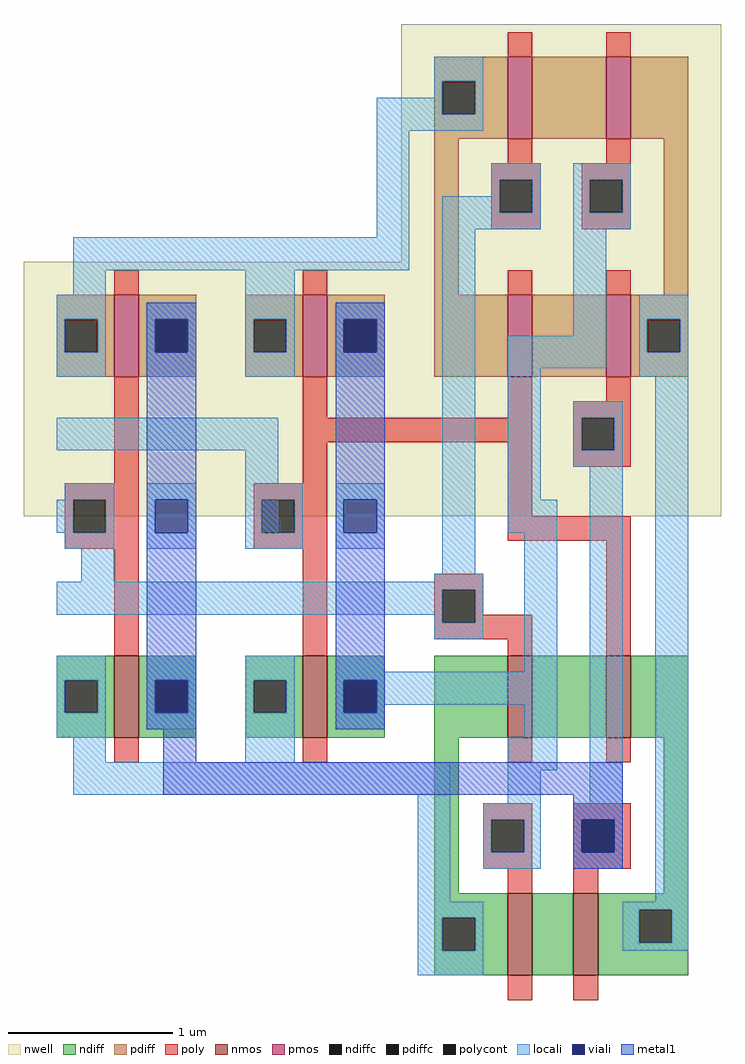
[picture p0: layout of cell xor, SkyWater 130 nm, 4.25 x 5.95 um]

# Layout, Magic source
magic
tech sky130A
<< nwell >>
rect -110 140 85 440
<< nmos >>
rect -45 5 -30 55
rect 15 5 30 55
rect -45 -140 -30 -90
rect -5 -140 10 -90
<< pmos >>
rect -45 370 -30 420
rect 15 370 30 420
rect -45 225 -30 275
rect 15 225 30 275
<< ndiff >>
rect -90 5 -45 55
rect -30 5 15 55
rect 30 5 65 55
rect -90 -90 -75 5
rect 50 -90 65 5
rect -90 -105 -45 -90
rect -90 -125 -85 -105
rect -65 -125 -45 -105
rect -90 -140 -45 -125
rect -30 -140 -5 -90
rect 10 -100 65 -90
rect 10 -120 35 -100
rect 55 -120 65 -100
rect 10 -140 65 -120
<< pdiff >>
rect -90 405 -45 420
rect -90 385 -85 405
rect -65 385 -45 405
rect -90 370 -45 385
rect -30 370 15 420
rect 30 370 65 420
rect -90 275 -75 370
rect 50 275 65 370
rect -90 225 -45 275
rect -30 225 15 275
rect 30 260 65 275
rect 30 240 40 260
rect 60 240 65 260
rect 30 225 65 240
<< ndiffc >>
rect -85 -125 -65 -105
rect 35 -120 55 -100
<< pdiffc >>
rect -85 385 -65 405
rect 40 240 60 260
<< poly >>
rect -45 420 -30 435
rect 15 420 30 435
rect -45 355 -30 370
rect 15 355 30 370
rect -55 345 -25 355
rect -55 325 -50 345
rect -30 325 -25 345
rect -55 315 -25 325
rect 0 345 30 355
rect 0 325 5 345
rect 25 325 30 345
rect 0 315 30 325
rect -45 275 -30 290
rect 15 275 30 290
rect -45 200 -30 225
rect 15 210 30 225
rect -170 185 -30 200
rect -45 140 -30 185
rect -5 200 30 210
rect -5 180 0 200
rect 20 180 30 200
rect -5 170 30 180
rect -45 125 30 140
rect -90 95 -60 105
rect -90 75 -85 95
rect -65 80 -60 95
rect -65 75 -30 80
rect -90 65 -30 75
rect -45 55 -30 65
rect 15 55 30 125
rect -45 -10 -30 5
rect 15 -10 30 5
rect -60 -45 -30 -35
rect -60 -65 -55 -45
rect -35 -65 -30 -45
rect -60 -75 -30 -65
rect -45 -90 -30 -75
rect -5 -45 30 -35
rect -5 -65 0 -45
rect 20 -65 30 -45
rect -5 -75 30 -65
rect -5 -90 10 -75
rect -45 -155 -30 -140
rect -5 -155 10 -140
<< polycont >>
rect -50 325 -30 345
rect 5 325 25 345
rect 0 180 20 200
rect -85 75 -65 95
rect -55 -65 -35 -45
rect 0 -65 20 -45
<< locali >>
rect -90 405 -60 420
rect -90 395 -85 405
rect -125 385 -85 395
rect -65 385 -60 405
rect -125 375 -60 385
rect -125 310 -105 375
rect -55 345 -25 355
rect -55 335 -50 345
rect -310 290 -105 310
rect -85 325 -50 335
rect -30 325 -25 345
rect -85 315 -25 325
rect -5 345 30 355
rect -5 325 5 345
rect 25 325 30 345
rect -5 315 30 325
rect -310 275 -290 290
rect -205 275 -175 290
rect -320 180 -185 200
rect -205 120 -185 180
rect -305 100 -285 120
rect -85 105 -65 315
rect -5 250 15 315
rect -45 230 15 250
rect 35 260 65 275
rect 35 240 40 260
rect 60 240 65 260
rect -45 150 -25 230
rect 35 225 65 240
rect -5 200 25 210
rect -5 180 0 200
rect 20 180 25 200
rect -5 170 25 180
rect -45 130 -15 150
rect -90 100 -60 105
rect -320 95 -60 100
rect -320 80 -85 95
rect -90 75 -85 80
rect -65 75 -60 95
rect -90 65 -60 75
rect -35 45 -15 130
rect -120 25 -15 45
rect -35 5 -15 25
rect -310 -10 -290 5
rect -205 -10 -175 5
rect -310 -30 -80 -10
rect -100 -95 -80 -30
rect -45 -15 -15 5
rect -45 -35 -25 -15
rect 5 -35 25 170
rect -60 -45 -25 -35
rect -60 -65 -55 -45
rect -35 -65 -25 -45
rect -60 -75 -25 -65
rect -5 -45 25 -35
rect -5 -65 0 -45
rect 20 -65 25 -45
rect -5 -75 25 -65
rect 45 -95 65 225
rect -100 -105 -60 -95
rect -100 -125 -85 -105
rect -65 -125 -60 -105
rect 25 -100 65 -95
rect 25 -120 35 -100
rect 55 -120 65 -100
rect 25 -125 65 -120
rect -100 -140 -60 -125
<< viali >>
rect 0 -65 20 -45
<< metal1 >>
rect -255 -10 -235 10
rect -255 -30 25 -10
rect -5 -45 25 -30
rect -5 -65 0 -45
rect 20 -65 25 -45
rect -5 -75 25 -65
use inv  inv_0
transform 1 0 -185 0 1 0
box -40 -10 85 295
use inv  inv_1
transform 1 0 -300 0 1 0
box -40 -10 85 295
<< end >>

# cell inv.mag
magic
tech sky130A
<< nwell >>
rect -40 140 85 295
<< nmos >>
rect 15 5 30 55
<< pmos >>
rect 15 225 30 275
<< ndiff >>
rect -20 40 15 55
rect -20 20 -15 40
rect 5 20 15 40
rect -20 5 15 20
rect 30 40 65 55
rect 30 20 40 40
rect 60 20 65 40
rect 30 5 65 20
<< pdiff >>
rect -20 260 15 275
rect -20 240 -15 260
rect 5 240 15 260
rect -20 225 15 240
rect 30 260 65 275
rect 30 240 40 260
rect 60 240 65 260
rect 30 225 65 240
<< ndiffc >>
rect -15 20 5 40
rect 40 20 60 40
<< pdiffc >>
rect -15 240 5 260
rect 40 240 60 260
<< poly >>
rect 15 275 30 290
rect 15 160 30 225
rect -15 150 30 160
rect -15 130 -10 150
rect 10 130 30 150
rect -15 120 30 130
rect 15 55 30 120
rect 15 -10 30 5
<< polycont >>
rect -10 130 10 150
<< locali >>
rect -20 260 10 275
rect -20 240 -15 260
rect 5 240 10 260
rect -20 225 10 240
rect 35 260 65 270
rect 35 240 40 260
rect 60 240 65 260
rect 35 225 65 240
rect -15 150 15 160
rect -20 130 -10 150
rect 10 130 15 150
rect -15 120 15 130
rect 35 150 65 160
rect 35 130 40 150
rect 60 130 65 150
rect 35 120 65 130
rect -20 40 10 55
rect -20 20 -15 40
rect 5 20 10 40
rect -20 5 10 20
rect 35 40 65 55
rect 35 20 40 40
rect 60 20 65 40
rect 35 10 65 20
<< viali >>
rect 40 240 60 260
rect 40 130 60 150
rect 40 20 60 40
<< metal1 >>
rect 35 260 65 270
rect 35 240 40 260
rect 60 240 65 260
rect 35 150 65 240
rect 35 130 40 150
rect 60 130 65 150
rect 35 40 65 130
rect 35 20 40 40
rect 60 20 65 40
rect 35 10 65 20
<< end >>
